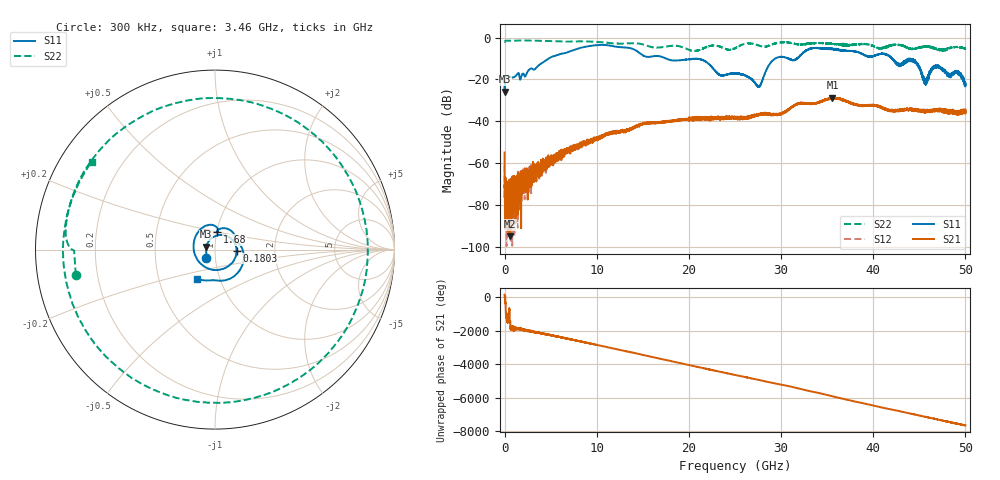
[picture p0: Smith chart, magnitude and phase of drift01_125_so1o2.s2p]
!Created with skrf (http://scikit-rf.org).
# Hz S RI R 50.0
!freq ReS11 ImS11 ReS21 ImS21 ReS12 ImS12 ReS22 ImS22
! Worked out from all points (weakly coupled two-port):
!   10001 points, 300 kHz to 50 GHz, reference 50 ohm
!   highest |S21| = -28.74 dB at 35.58 GHz (marker M1); lowest = -95.1 dB at 620.3 MHz (marker M2)
!   lowest |S11| = -25.8 dB at 5.3 MHz (marker M3), VSWR 1.11, Z = 45.3 + j1.42 ohm
!   |S11| at or under -10 dB: start of sweep to 4.77 GHz; 17.53 GHz to 29.37 GHz (11.85 GHz wide, 50.5 % of centre); 43.99 GHz to end of sweep (the widest 3 of 13)
!   |S22| runs from -6.4 to -1.4 dB; largest |S21 - S12| = 0.0041
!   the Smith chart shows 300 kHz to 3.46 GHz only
!   S11 on the Smith chart (normalised r, x): 300 kHz: 0.90, -0.08; 180.3 MHz: 1.27, -0.01; 1.68 GHz: 1.01, +0.20; 3.46 GHz: 0.78, -0.26
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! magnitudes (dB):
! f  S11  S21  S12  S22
! 300 kHz  -23.5  -55.0  -61.1  -2.1
! 5.3 MHz  -25.8  -72.0  -76.1  -2.1
! 180.3 MHz  -18.4  -78.8  -68.2  -1.4
! 620.3 MHz  -18.9  -95.1  -79.8  -1.5
! 1.68 GHz  -20.1  -69.1  -71.7  -1.4
! 3.46 GHz  -14.3  -62.6  -63.8  -1.5
! 8.335 GHz  -4.8  -51.0  -51.5  -1.8
! 16.67 GHz  -8.8  -40.7  -40.6  -4.8
! 21.22 GHz  -10.3  -38.6  -38.8  -5.7
! 23.39 GHz  -17.9  -38.6  -38.5  -4.3
! 25 GHz  -17.1  -38.8  -38.1  -5.0
! 27.59 GHz  -23.5  -36.8  -37.2  -3.8
! 29.28 GHz  -10.3  -37.0  -36.7  -2.9
! 31.47 GHz  -10.7  -32.5  -32.4  -2.9
! 33.34 GHz  -5.1  -31.6  -31.5  -2.7
! 35.58 GHz  -5.4  -28.7  -29.1  -2.9
! 41.67 GHz  -8.7  -34.5  -34.6  -4.2
! 42.83 GHz  -13.0  -34.7  -34.7  -3.6
! 44.43 GHz  -11.0  -34.9  -34.8  -5.3
! 45.63 GHz  -20.3  -35.5  -35.8  -4.2
! 46.93 GHz  -13.6  -34.8  -34.6  -5.4
! 50 GHz  -21.9  -36.0  -34.5  -5.3
